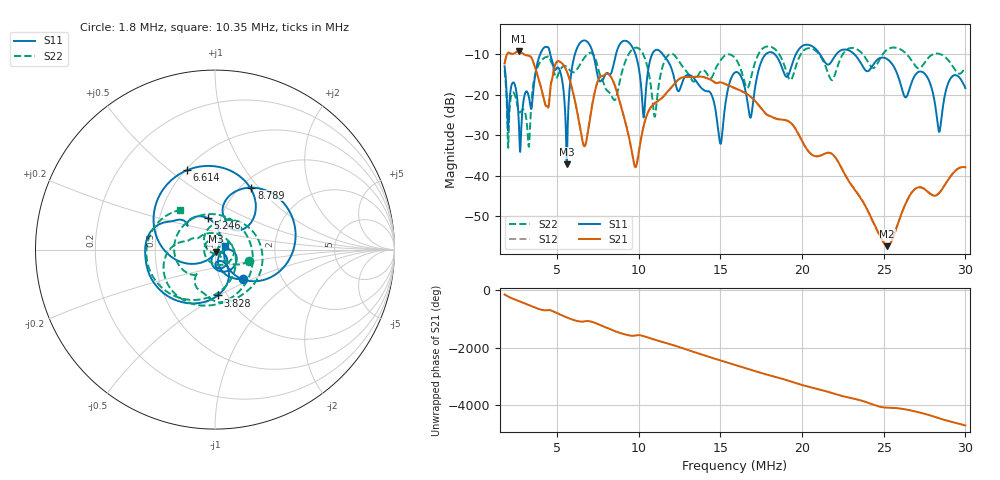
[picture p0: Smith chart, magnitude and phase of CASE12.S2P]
!Agilent Technologies,E5061B,MY49101568,A.02.00
!Date: Wed Mar 01 13:59:52 2023
!Data & Calibration Information:
!Freq	S11:SOLT2(OFF)	S21:SOLT2(OFF)	S12:SOLT2(OFF)	S22:SOLT2(OFF)
# Hz S dB R 50
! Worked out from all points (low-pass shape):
!   1155 points, 1.8 MHz to 30 MHz, reference 50 ohm
!   highest |S21| = -9.23 dB at 2.655 MHz (marker M1); lowest = -57.5 dB at 25.21 MHz (marker M2)
!   |S21| within 3 dB of the highest: 1.801 MHz to 3.58 MHz (1.779 MHz wide, 66.1 % of centre); 4.935 MHz to 5.317 MHz (382.6 kHz wide, 7.46 % of centre)
!   lowest |S11| = -37.3 dB at 5.612 MHz (marker M3), VSWR 1.03, Z = 50.7 - j1.21 ohm
!   |S11| at or under -10 dB: start of sweep to 3.973 MHz; 11.48 MHz to 17.77 MHz (6.288 MHz wide, 43 % of centre); 23.21 MHz to end of sweep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
!   |S22| runs from -33.1 to -8.0 dB; largest |S21 - S12| = 0.0042
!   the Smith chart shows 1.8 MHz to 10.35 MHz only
!   S11 on the Smith chart (normalised r, x): 1.8 MHz: 1.28, -0.44; 3.828 MHz: 0.90, -0.49; 5.246 MHz: 0.87, +0.31; 6.614 MHz: 0.51, +0.58; 8.789 MHz: 1.11, +0.91; 10.35 MHz: 1.12, +0.04
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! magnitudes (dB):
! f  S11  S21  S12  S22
! 1.8 MHz  -13.0  -12.3  -12.3  -13.9
! 2.655 MHz  -25.6  -9.2  -9.2  -23.9
! 3.266 MHz  -20.2  -10.3  -10.3  -32.8
! 3.828 MHz  -11.8  -15.4  -15.4  -13.0
! 5.246 MHz  -14.9  -12.0  -11.9  -13.6
! 5.612 MHz  -37.3  -14.3  -14.3  -13.1
! 6.516 MHz  -6.8  -30.4  -30.2  -11.8
! 6.614 MHz  -6.6  -32.3  -32.0  -11.2
! 7.64 MHz  -16.7  -15.6  -15.6  -15.2
! 8.789 MHz  -7.9  -21.0  -20.8  -17.8
! 9.766 MHz  -9.5  -37.6  -37.8  -8.4
! 10.35 MHz  -24.4  -27.1  -26.9  -10.6
! 11.21 MHz  -8.9  -21.5  -21.6  -18.3
! 15 MHz  -32.0  -16.9  -16.9  -11.7
! 15.9 MHz  -14.5  -18.4  -18.5  -10.9
! 16.85 MHz  -25.7  -20.5  -20.5  -16.2
! 17.76 MHz  -10.1  -24.6  -24.6  -8.1
! 20.62 MHz  -8.0  -34.9  -34.8  -8.6
! 25.21 MHz  -11.2  -57.5  -57.3  -8.8
! 25.31 MHz  -11.5  -57.4  -57.2  -8.6
! 28.39 MHz  -29.2  -44.4  -44.3  -9.9
! 30 MHz  -18.4  -38.0  -37.9  -13.2
